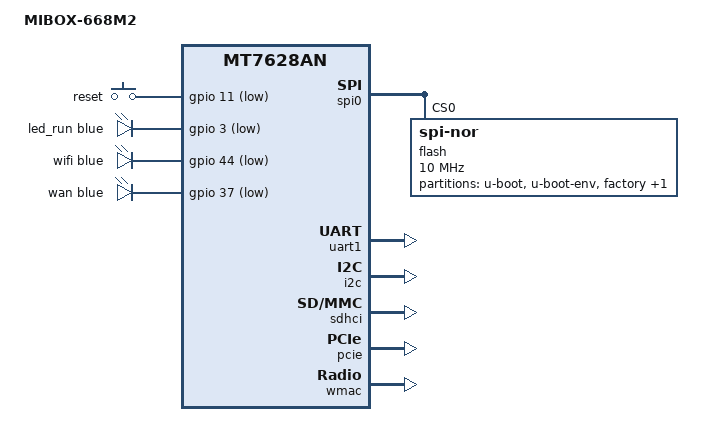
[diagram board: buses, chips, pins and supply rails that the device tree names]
// SPDX-License-Identifier: GPL-2.0-or-later OR MIT
/*
 * Device Tree Source for MIBOX-668M2 (蜂助手 S1 4G CPE)
 *
 * 硬件：MediaTek MT7628DAN + 2x Quectel EC200（EC200T CAT4 / EC200N CAT1）
 *       16MB SPI-NOR flash（XM25QH128A，128Mbit）/ 64MB DDR2
 *
 * ★★ flash 容量 = 16MiB（2026-10-22 真机四重核实，勿改回）★★
 *
 *   证据 1 芯片型号：dmesg -> spi-nor spi0.0: XM25QH128A (16384 Kbytes)
 *                   XMC XM25QH128A = 128Mbit = 16,384KB（原厂 datasheet）
 *   证据 2 内核截断：同一份 DTB 若写 0x1fb0000(31.6MB)，内核打印
 *                   "partition firmware extends beyond the end of device
 *                    -- size truncated to 0xfb0000"
 *                   截断值必然是「物理容量 - 起始地址」，即 容量 - 0x50000 = 0xfb0000
 *                   => 容量 = 0x1000000 = 16MiB。若真是 8MiB，截断值会是 0x7b0000。
 *   证据 3 分区求和：u-boot 0x30000 + env 0x10000 + factory 0x10000
 *                   + firmware 0xfb0000 = 0x1000000 = 16MiB，分毫不差
 *   证据 4 sysfs  ：/sys/class/mtd/mtd3/size = 16449536 = 15.68MiB（减去前述头部）
 *
 *   曾经照抄 WRTnode 2P 模板写成 0x1fb0000（那是 32MB flash 的板子），
 *   且注释里还写着错的 "8MB"。两者自相矛盾，说明当时根本没验证过。
 *
 *   分区布局（0x50000 + 0xfb0000 = 0x1000000 = 16MiB，与 flash 物理容量封顶）：
 *     u-boot      @ 0x000000  0x030000  read-only
 *     u-boot-env  @ 0x030000  0x010000  read-only
 *     factory     @ 0x040000  0x010000  read-only   （MAC 在偏移 0x28，EEPROM 在 0x0）
 *     firmware    @ 0x050000  0xFB0000              （15.68MB，余下全部）
 */

#include "mt7628an.dtsi"

#include <dt-bindings/gpio/gpio.h>
#include <dt-bindings/input/input.h>
#include <dt-bindings/leds/common.h>

/ {
	compatible = "mibox,668m2", "mediatek,mt7628an-soc";   /* ★改：本板 compatible */
	model = "MIBOX-668M2";                                 /* ★改：本板 model */

	chosen {
		bootargs = "console=ttyS0,57600";              /* ★改：波特率 57600 */
	};

	aliases {                                              /* ★加：LED 别名 */
		led-boot = &led_run;
		led-failsafe = &led_run;
		led-running = &led_run;
		led-upgrade = &led_run;
	};

	keys {
		compatible = "gpio-keys";

		reset {
			label = "reset";
			gpios = <&gpio 11 GPIO_ACTIVE_LOW>;        /* ★改：reset = GPIO11 */
			linux,code = <KEY_RESTART>;
		};
	};

	leds {                                                 /* ★加：run / wifi / wan */
		compatible = "gpio-leds";

		led_run: run {
			function = LED_FUNCTION_STATUS;
			color = <LED_COLOR_ID_BLUE>;
			gpios = <&gpio 3 GPIO_ACTIVE_LOW>;
		};

		wifi {
			function = LED_FUNCTION_WLAN;
			color = <LED_COLOR_ID_BLUE>;
			gpios = <&gpio 44 GPIO_ACTIVE_LOW>;
			linux,default-trigger = "phy0tpt";
		};

		wan {
			function = LED_FUNCTION_WAN;
			color = <LED_COLOR_ID_BLUE>;
			gpios = <&gpio 37 GPIO_ACTIVE_LOW>;
		};
	};
};

&state_default {
	/* ★改：按社区固件实际值覆盖 gpio 复用组；★不包含 i2c（模组上电要保持 i2c 功能） */
	gpio {
		groups = "gpio", "refclk", "wdt", "wled_an";
		function = "gpio";
	};
};

&spi0 {
	status = "okay";

	flash@0 {
		compatible = "jedec,spi-nor";
		reg = <0>;
		spi-max-frequency = <10000000>;
		broken-flash-reset;

		partitions {
			compatible = "fixed-partitions";
			#address-cells = <1>;
			#size-cells = <1>;

			partition@0 {
				label = "u-boot";
				reg = <0x0 0x30000>;
				read-only;
			};

			partition@30000 {
				label = "u-boot-env";
				reg = <0x30000 0x10000>;
				read-only;
			};

			partition@40000 {
				label = "factory";
				reg = <0x40000 0x10000>;
				read-only;

				nvmem-layout {
					compatible = "fixed-layout";
					#address-cells = <1>;
					#size-cells = <1>;

					eeprom_factory_0: eeprom@0 {
						reg = <0x0 0x400>;
					};

					macaddr_factory_28: macaddr@28 {   /* ★改：MAC @ 0x28 */
						reg = <0x28 0x6>;
					};
				};
			};

			partition@50000 {
				compatible = "denx,uimage";
				label = "firmware";
				/* 15.68MB：0x50000 + 0xfb0000 = 0x1000000 = 16MiB = flash 物理容量 */
				reg = <0x50000 0xfb0000>;
			};
		};
	};
};

&uart1 {
	status = "okay";
};

&i2c {                                                     /* ★关键：EC200 上电经 I2C 0x39 */
	status = "okay";
};

&ethernet {
	nvmem-cells = <&macaddr_factory_28>;                   /* ★改：MAC 来源 */
	nvmem-cell-names = "mac-address";
};

&esw {
	mediatek,portmap = <0x07>;                             /* ★改：端口映射（WAN 在 1 号口） */
};

&sdhci {
	status = "okay";                                       /* 与官方模板一致 */
};

&pcie {
	status = "okay";                                       /* 与官方模板一致 */
};

&wmac {
	status = "okay";

	nvmem-cells = <&eeprom_factory_0>;
	nvmem-cell-names = "eeprom";
};
